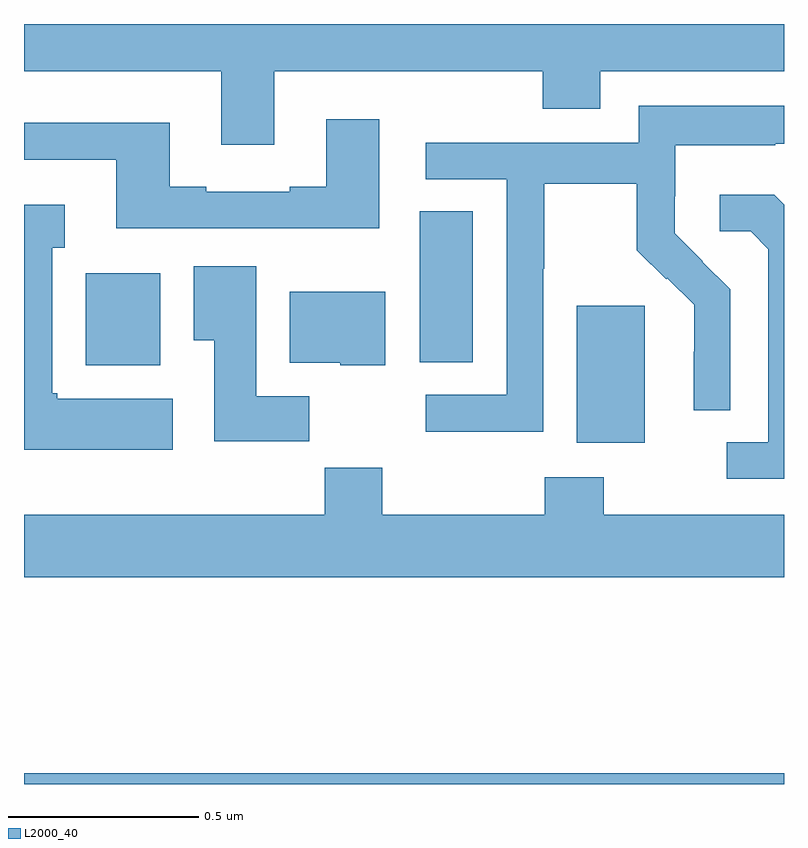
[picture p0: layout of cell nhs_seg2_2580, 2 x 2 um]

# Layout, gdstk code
import gdstk
lib = gdstk.Library(unit=1e-6, precision=1e-09)
def R(c, l, rs):  # rectangles x0, y0, x1, y1
    for r in rs: c.add(gdstk.rectangle(r[:2], r[2:], *l))
def P(c, l, *ps):  # polygons
    for p in ps: c.add(gdstk.Polygon(p, *l))
L2000_40 = (2000, 40)

nhs_seg2_2580 = lib.new_cell('nhs_seg2_2580')
R(nhs_seg2_2580, L2000_40, [(143,605.8,145,605.828), (144.455,606.698,144.634,607.059), (143.162,606.902,143.359,607.144), (144.041,606.91,144.181,607.307)])
P(nhs_seg2_2580, L2000_40, [(143,607.676),(143.519,607.676),(143.519,607.482),(143.659,607.482),(143.659,607.676),(144.365,607.676),(144.365,607.577),(144.517,607.577),(144.517,607.676),(145,607.676),(145,607.8),(143,607.8)],
  [(144.366,607.156),(144.369,607.156),(144.369,607.38),(144.613,607.38),(144.613,607.205),(144.69,607.128),(144.693,607.131),(144.764,607.061),(144.764,606.938),(144.762,606.938),(144.762,606.784),(144.858,606.784),(144.858,607.102),(144.785,607.175),(144.786,607.176),(144.712,607.25),(144.712,607.347),(144.714,607.347),(144.714,607.481),(144.977,607.481),(144.977,607.485),(145,607.485),(145,607.585),(144.618,607.585),(144.618,607.488),(144.057,607.488),(144.057,607.392),(144.27,607.392),(144.27,606.825),(144.057,606.825),(144.057,606.727),(144.366,606.727)],
  [(143.935,607.549),(143.795,607.549),(143.795,607.372),(143.699,607.372),(143.699,607.359),(143.479,607.359),(143.479,607.372),(143.383,607.372),(143.383,607.54),(143,607.54),(143,607.443),(143.243,607.443),(143.243,607.263),(143.707,607.263),(143.707,607.262),(143.935,607.262)],
  [(145,607.325),(144.974,607.351),(144.831,607.351),(144.831,607.254),(144.912,607.254),(144.959,607.207),(144.959,606.699),(144.849,606.699),(144.849,606.603),(145,606.603)],
  [(143.392,606.814),(143.088,606.814),(143.088,606.828),(143.074,606.828),(143.074,607.211),(143.107,607.211),(143.107,607.324),(143,607.324),(143,606.68),(143.392,606.68)],
  [(143.75,606.82),(143.611,606.82),(143.611,607.162),(143.447,607.162),(143.447,606.968),(143.501,606.968),(143.501,606.702),(143.75,606.702)],
  [(143.95,607.096),(143.699,607.096),(143.699,606.908),(143.832,606.908),(143.832,606.902),(143.95,606.902)],
  [(145,606.508),(144.525,606.508),(144.525,606.607),(144.37,606.607),(144.37,606.508),(143.943,606.508),(143.943,606.632),(143.791,606.632),(143.791,606.508),(143,606.508),(143,606.344),(145,606.344)])

lib.write_gds('nhs_seg2_2580.gds')
